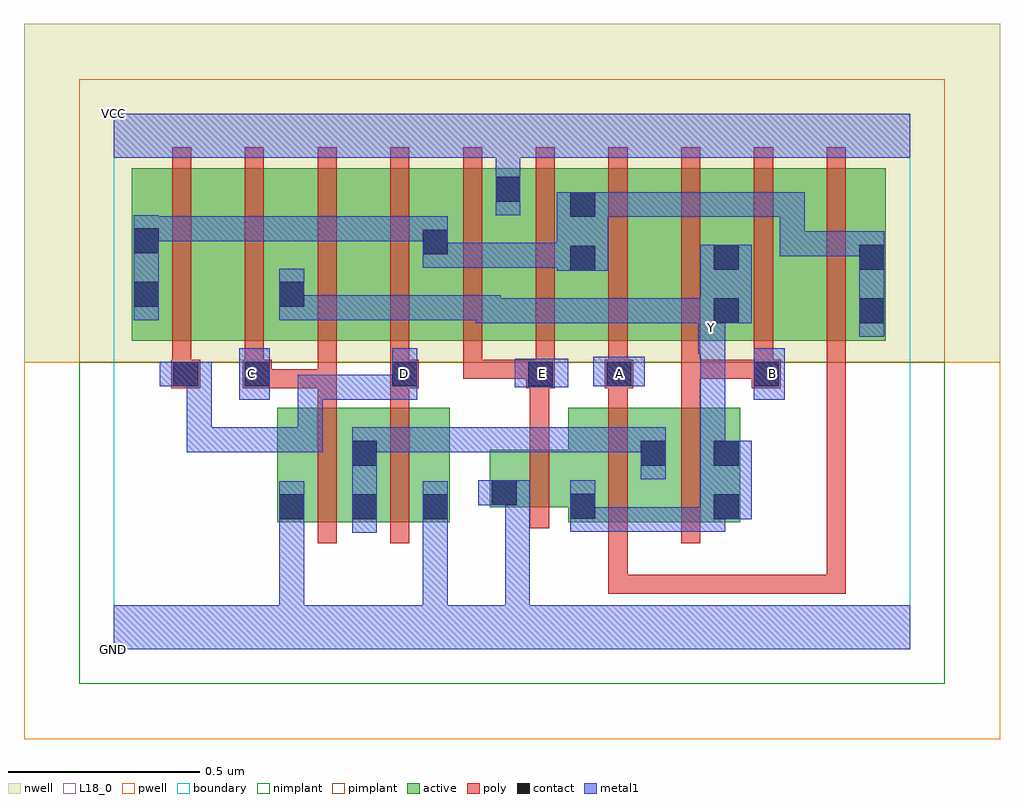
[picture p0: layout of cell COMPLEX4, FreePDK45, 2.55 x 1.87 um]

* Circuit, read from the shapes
.subckt COMPLEX4 A B C D E GND VCC Y
M1 n1 C GND VSUBS nfet w=0.3u l=0.05u
M2 GND D n1 VSUBS nfet w=0.3u l=0.05u
M3 Y E GND VSUBS nfet w=0.15u l=0.05u
M4 n1 A Y VSUBS nfet w=0.3u l=0.05u
M5 Y B n1 VSUBS nfet w=0.3u l=0.05u
M6 n2 D n3 n4 pfet w=0.45u l=0.05u
M7 Y C n2 n4 pfet w=0.45u l=0.05u
M8 n5 C Y n4 pfet w=0.45u l=0.05u
M9 n3 D n5 n4 pfet w=0.45u l=0.05u
M10 VCC E n3 n4 pfet w=0.45u l=0.05u m=2
M11 n6 A n3 n4 pfet w=0.45u l=0.05u
M12 Y B n6 n4 pfet w=0.45u l=0.05u
M13 n7 B Y n4 pfet w=0.45u l=0.05u
M14 n3 A n7 n4 pfet w=0.45u l=0.05u
.ends

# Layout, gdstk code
import gdstk
lib = gdstk.Library(unit=1e-6, precision=1e-09)
def R(c, l, rs):  # rectangles x0, y0, x1, y1
    for r in rs: c.add(gdstk.rectangle(r[:2], r[2:], *l))
def A(c, l, x, y, w, h, nx, ny, dx, dy):  # array of equal rectangles
    R(c, l, [(x+i*dx, y+j*dy, x+i*dx+w, y+j*dy+h) for i in range(nx) for j in range(ny)])
active = (1, 0)
pwell = (2, 0)
nwell = (3, 0)
nimplant = (4, 0)
pimplant = (5, 0)
poly = (9, 0)
contact = (10, 0)
metal1 = (11, 0)
L18_0 = (18, 0)
boundary = (235, 0)

complex4 = lib.new_cell('COMPLEX4')
R(complex4, active, [(0.427,0.332,0.692,0.632), (0.617,0.332,0.877,0.632), (0.617,0.332,0.692,0.55), (0.802,0.332,0.877,0.547), (1.187,0.332,1.447,0.632), (1.187,0.332,1.262,0.522), (1.372,0.332,1.637,0.632), (0.427,0.335,0.502,0.632), (1.562,0.335,1.637,0.632), (0.982,0.372,1.262,0.522), (0.982,0.372,1.057,0.522), (1.372,0.382,1.447,0.55), (0.047,0.807,0.272,1.257), (0.047,0.807,0.152,1.2), (0.272,0.807,0.502,1.257), (0.427,0.807,0.652,1.257), (0.427,0.807,0.502,1.07), (0.652,0.807,0.877,1.257), (0.802,0.807,1.067,1.257), (0.992,0.807,1.262,1.257), (1.187,0.807,1.412,1.257), (1.412,0.807,1.637,1.257), (1.562,0.807,1.792,1.257), (1.562,0.807,1.637,1.07), (1.792,0.807,2.017,1.257), (1.942,0.807,2.017,1.2), (0.802,0.857,0.877,1.2), (0.992,0.857,1.067,1.255), (1.187,0.857,1.262,1.2)])
R(complex4, pwell, [(-0.235,-0.235,2.315,0.75)])
R(complex4, nwell, [(-0.235,0.75,2.315,1.635)])
R(complex4, nimplant, [(-0.09,-0.09,2.17,0.75)])
R(complex4, pimplant, [(-0.09,0.75,2.17,1.49)])
A(complex4, poly, 0.722, 0.707, 0.05, 0.095, 6, 1, 0.19, 0)
A(complex4, poly, 0.152, 0.752, 0.05, 0.56, 10, 1, 0.19, 0)
R(complex4, poly, [(1.292,0.145,1.342,0.195), (1.292,0.145,1.342,0.195), (1.292,0.145,1.342,0.195), (1.292,0.145,1.475,0.195), (1.292,0.145,1.342,0.327), (1.425,0.145,1.475,0.195), (1.425,0.145,1.647,0.195), (1.597,0.145,1.647,0.195), (1.597,0.145,1.78,0.195), (1.73,0.145,1.78,0.195), (1.73,0.145,1.78,0.195), (1.73,0.145,1.78,0.195), (1.73,0.145,1.78,0.195), (1.73,0.145,1.78,0.195), (1.73,0.145,1.912,0.195), (1.862,0.145,1.912,0.802), (1.862,0.145,1.912,0.195), (1.862,0.145,1.912,0.195), (1.862,0.145,1.912,0.195), (1.862,0.145,1.912,0.195), (1.862,0.145,1.912,0.195), (1.862,0.145,1.912,0.195), (1.862,0.145,1.912,0.195), (0.532,0.277,0.582,0.687), (0.722,0.277,0.772,0.687), (1.292,0.277,1.342,0.687), (1.482,0.277,1.532,0.687), (1.087,0.317,1.137,0.577), (1.087,0.527,1.137,0.732), (0.532,0.637,0.582,0.732), (0.722,0.637,0.772,0.732), (1.292,0.637,1.342,0.732), (1.482,0.637,1.532,0.757), (0.15,0.682,0.225,0.757), (0.337,0.682,0.412,0.757), (0.362,0.682,0.582,0.732), (0.532,0.682,0.582,0.732), (0.532,0.682,0.582,0.732), (0.532,0.682,0.582,0.732), (0.532,0.682,0.582,0.802), (0.722,0.682,0.797,0.757), (1.077,0.682,1.152,0.757), (1.282,0.682,1.357,0.757), (1.667,0.682,1.742,0.757), (0.152,0.707,0.202,0.802), (0.342,0.707,0.392,0.802), (0.912,0.707,0.962,0.757), (0.912,0.707,1.127,0.757), (1.077,0.707,1.127,0.757), (1.077,0.707,1.127,0.757), (1.482,0.707,1.532,0.757), (1.482,0.707,1.532,0.757), (1.482,0.707,1.532,0.757), (1.482,0.707,1.717,0.757)])
R(complex4, contact, [(0.432,0.34,0.497,0.405), (0.622,0.34,0.687,0.405), (0.807,0.34,0.872,0.405), (1.567,0.34,1.632,0.405), (1.192,0.342,1.257,0.407), (0.987,0.377,1.052,0.442), (0.622,0.48,0.687,0.545), (1.377,0.48,1.442,0.545), (1.567,0.48,1.632,0.545), (0.155,0.687,0.22,0.752), (0.342,0.687,0.407,0.752), (0.727,0.687,0.792,0.752), (1.082,0.687,1.147,0.752), (1.287,0.687,1.352,0.752), (1.672,0.687,1.737,0.752), (1.567,0.852,1.632,0.917), (1.947,0.852,2.012,0.917), (0.052,0.895,0.117,0.96), (0.432,0.895,0.497,0.96), (1.192,0.99,1.257,1.055), (1.567,0.992,1.632,1.057), (1.947,0.992,2.012,1.057), (0.807,1.032,0.872,1.097), (0.052,1.035,0.117,1.1), (1.192,1.13,1.257,1.195), (0.997,1.17,1.062,1.235)])
R(complex4, metal1, [(0,0,2.08,0.115), (0.432,0.05,0.497,0.115), (0.432,0.05,0.497,0.115), (0.432,0.05,0.497,0.37), (0.807,0.05,0.872,0.115), (0.807,0.05,0.872,0.115), (0.807,0.05,0.872,0.115), (0.807,0.05,0.872,0.115), (0.807,0.05,0.872,0.37), (1.022,0.05,1.087,0.115), (1.022,0.05,1.087,0.115), (1.022,0.05,1.087,0.442), (0.432,0.305,0.497,0.37), (0.432,0.305,0.497,0.37), (0.432,0.305,0.497,0.44), (0.622,0.305,0.687,0.58), (0.807,0.305,0.872,0.44), (1.192,0.307,1.257,0.442), (1.192,0.307,1.442,0.372), (1.377,0.307,1.442,0.372), (1.377,0.307,1.442,0.372), (1.377,0.307,1.442,0.372), (1.377,0.307,1.597,0.372), (1.532,0.307,1.597,0.372), (1.532,0.307,1.597,0.372), (1.532,0.307,1.597,0.372), (1.532,0.307,1.597,0.405), (1.532,0.34,1.667,0.545), (0.952,0.377,1.087,0.442), (1.022,0.377,1.087,0.442), (1.022,0.377,1.087,0.442), (1.022,0.377,1.087,0.442), (1.022,0.377,1.087,0.442), (1.377,0.445,1.442,0.58), (1.532,0.48,1.597,0.837), (0.19,0.515,0.255,0.58), (0.19,0.515,0.392,0.58), (0.19,0.515,0.255,0.752), (0.327,0.515,0.392,0.58), (0.327,0.515,0.545,0.58), (0.48,0.515,0.545,0.58), (0.48,0.515,0.545,0.717), (0.622,0.515,0.687,0.58), (0.622,0.515,0.687,0.58), (0.622,0.515,0.872,0.58), (0.807,0.515,0.872,0.58), (0.807,0.515,0.975,0.58), (0.91,0.515,0.975,0.58), (0.91,0.515,1.03,0.58), (0.965,0.515,1.03,0.58), (0.965,0.515,1.112,0.58), (1.047,0.515,1.112,0.58), (1.047,0.515,1.305,0.58), (1.24,0.515,1.305,0.58), (1.24,0.515,1.305,0.58), (1.24,0.515,1.305,0.58), (1.24,0.515,1.442,0.58), (0.327,0.652,0.407,0.787), (0.48,0.652,0.545,0.717), (0.48,0.652,0.545,0.717), (0.48,0.652,0.545,0.717), (0.48,0.652,0.735,0.717), (0.67,0.652,0.735,0.717), (0.67,0.652,0.792,0.717), (0.727,0.652,0.792,0.787), (1.672,0.652,1.752,0.787), (1.047,0.685,1.187,0.76), (0.12,0.687,0.255,0.752), (0.19,0.687,0.255,0.752), (0.19,0.687,0.255,0.752), (1.252,0.687,1.387,0.765), (1.527,0.772,1.597,0.907), (1.947,0.817,2.012,1.092), (1.532,0.842,1.597,0.917), (0.945,0.852,1.167,0.917), (0.945,0.852,1.01,0.925), (1.102,0.852,1.167,0.917), (1.102,0.852,1.167,0.917), (1.102,0.852,1.167,0.917), (1.102,0.852,1.455,0.917), (1.39,0.852,1.455,0.917), (1.39,0.852,1.455,0.917), (1.39,0.852,1.455,0.917), (1.39,0.852,1.597,0.917), (1.532,0.852,1.597,0.917), (1.532,0.852,1.597,0.917), (1.532,0.852,1.667,1.057), (0.052,0.86,0.117,1.135), (0.432,0.86,0.497,0.995), (0.432,0.86,0.545,0.925), (0.48,0.86,0.545,0.925), (0.48,0.86,0.682,0.925), (0.617,0.86,0.682,0.925), (0.617,0.86,0.682,0.925), (0.617,0.86,0.682,0.925), (0.617,0.86,0.872,0.925), (0.807,0.86,0.872,0.925), (0.807,0.86,0.872,0.925), (0.807,0.86,0.872,0.925), (0.807,0.86,1.01,0.925), (1.157,0.99,1.292,1.195), (0.807,0.997,0.872,1.062), (0.807,0.997,0.872,1.062), (0.807,0.997,1.01,1.062), (0.807,0.997,0.872,1.132), (0.945,0.997,1.01,1.062), (0.945,0.997,1.112,1.062), (1.047,0.997,1.112,1.062), (1.047,0.997,1.222,1.062), (1.74,1.027,1.805,1.092), (1.74,1.027,2.012,1.092), (1.74,1.027,1.805,1.195), (1.947,1.027,2.012,1.092), (1.947,1.027,2.012,1.092), (0.052,1.067,0.117,1.132), (0.052,1.067,0.117,1.132), (0.052,1.067,0.36,1.132), (0.295,1.067,0.36,1.132), (0.295,1.067,0.36,1.132), (0.295,1.067,0.36,1.132), (0.295,1.067,0.407,1.132), (0.342,1.067,0.407,1.132), (0.342,1.067,0.545,1.132), (0.48,1.067,0.545,1.132), (0.48,1.067,0.545,1.132), (0.48,1.067,0.545,1.132), (0.48,1.067,0.705,1.132), (0.64,1.067,0.705,1.132), (0.64,1.067,0.705,1.132), (0.64,1.067,0.705,1.132), (0.64,1.067,0.872,1.132), (1.227,1.13,1.442,1.195), (1.377,1.13,1.442,1.195), (1.377,1.13,1.442,1.195), (1.377,1.13,1.442,1.195), (1.377,1.13,1.6,1.195), (1.535,1.13,1.6,1.195), (1.535,1.13,1.667,1.195), (1.602,1.13,1.667,1.195), (1.602,1.13,1.805,1.195), (1.74,1.13,1.805,1.195), (1.74,1.13,1.805,1.195), (1.74,1.13,1.805,1.195), (0.997,1.135,1.062,1.27), (0.997,1.205,1.062,1.35), (0,1.285,2.08,1.4)])
R(complex4, L18_0, [(0,0,2.08,0.115), (0.432,0.05,0.497,0.115), (0.432,0.05,0.497,0.115), (0.432,0.05,0.497,0.37), (0.807,0.05,0.872,0.115), (0.807,0.05,0.872,0.115), (0.807,0.05,0.872,0.115), (0.807,0.05,0.872,0.115), (0.807,0.05,0.872,0.37), (1.022,0.05,1.087,0.115), (1.022,0.05,1.087,0.115), (1.022,0.05,1.087,0.442), (0.432,0.305,0.497,0.37), (0.432,0.305,0.497,0.37), (0.432,0.305,0.497,0.44), (0.807,0.305,0.872,0.44), (1.192,0.307,1.257,0.442), (1.192,0.307,1.442,0.372), (1.377,0.307,1.442,0.372), (1.377,0.307,1.442,0.372), (1.377,0.307,1.442,0.372), (1.377,0.307,1.597,0.372), (1.532,0.307,1.597,0.372), (1.532,0.307,1.597,0.372), (1.532,0.307,1.597,0.372), (1.532,0.307,1.597,0.405), (1.532,0.34,1.667,0.545), (0.952,0.377,1.087,0.442), (1.022,0.377,1.087,0.442), (1.022,0.377,1.087,0.442), (1.022,0.377,1.087,0.442), (1.022,0.377,1.087,0.442), (1.532,0.48,1.597,0.837), (0.19,0.515,0.255,0.58), (0.19,0.515,0.255,0.752), (0.19,0.515,0.392,0.58), (0.327,0.515,0.392,0.58), (0.327,0.515,0.545,0.58), (0.48,0.515,0.545,0.58), (0.48,0.515,0.545,0.717), (0.327,0.652,0.407,0.787), (0.48,0.652,0.545,0.717), (0.48,0.652,0.545,0.717), (0.48,0.652,0.545,0.717), (0.48,0.652,0.735,0.717), (0.67,0.652,0.735,0.717), (0.67,0.652,0.792,0.717), (0.727,0.652,0.792,0.787), (1.672,0.652,1.752,0.787), (1.047,0.685,1.187,0.76), (0.12,0.687,0.255,0.752), (0.19,0.687,0.255,0.752), (0.19,0.687,0.255,0.752), (0.327,0.687,0.392,0.752), (0.727,0.687,0.792,0.752), (1.087,0.687,1.152,0.752), (1.252,0.687,1.387,0.765), (1.287,0.687,1.352,0.752), (1.687,0.687,1.752,0.752), (1.527,0.772,1.597,0.907), (1.527,0.807,1.592,0.872), (1.532,0.842,1.597,0.917), (0.945,0.852,1.01,0.925), (0.945,0.852,1.167,0.917), (1.102,0.852,1.167,0.917), (1.102,0.852,1.167,0.917), (1.102,0.852,1.167,0.917), (1.102,0.852,1.455,0.917), (1.39,0.852,1.455,0.917), (1.39,0.852,1.455,0.917), (1.39,0.852,1.455,0.917), (1.39,0.852,1.597,0.917), (1.532,0.852,1.597,0.917), (1.532,0.852,1.597,0.917), (1.532,0.852,1.667,1.057), (0.432,0.86,0.497,0.995), (0.432,0.86,0.545,0.925), (0.48,0.86,0.545,0.925), (0.48,0.86,0.682,0.925), (0.617,0.86,0.682,0.925), (0.617,0.86,0.682,0.925), (0.617,0.86,0.682,0.925), (0.617,0.86,0.872,0.925), (0.807,0.86,0.872,0.925), (0.807,0.86,0.872,0.925), (0.807,0.86,0.872,0.925), (0.807,0.86,1.01,0.925), (0.997,1.135,1.062,1.27), (0.997,1.205,1.062,1.35), (0,1.285,2.08,1.4)])
R(complex4, boundary, [(0,0,2.08,1.4)])
complex4.add(gdstk.Label('A', (1.32,0.72), layer=11, texttype=0))
complex4.add(gdstk.Label('B', (1.72,0.72), layer=11, texttype=0))
complex4.add(gdstk.Label('C', (0.36,0.72), layer=11, texttype=0))
complex4.add(gdstk.Label('D', (0.76,0.72), layer=11, texttype=0))
complex4.add(gdstk.Label('E', (1.12,0.72), layer=11, texttype=0))
complex4.add(gdstk.Label('Y', (1.56,0.84), layer=11, texttype=0))
complex4.add(gdstk.Label('VCC', (0,1.4), layer=11, texttype=0))
complex4.add(gdstk.Label('GND', (0,0), layer=11, texttype=0))

lib.write_gds('COMPLEX4.gds')
